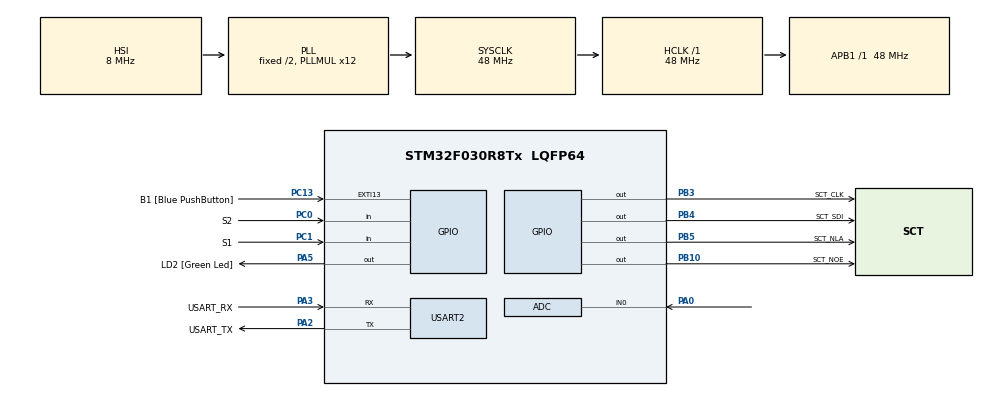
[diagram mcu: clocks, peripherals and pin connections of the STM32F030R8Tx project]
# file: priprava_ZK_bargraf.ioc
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ADC.ContinuousConvMode=ENABLE
ADC.Overrun=ADC_OVR_DATA_OVERWRITTEN
ADC.SamplingTime=ADC_SAMPLETIME_239CYCLES_5
Mcu.Family=STM32F0
Mcu.Name=STM32F030R8Tx
Mcu.Package=LQFP64
NVIC.ADC1_IRQn=true\:0\:0\:false\:false\:true\:true\:true
PA0.Mode=IN0
PA0.Signal=ADC_IN0
PA13.GPIO_Label=TMS
PA13.Mode=Serial_Wire
PA13.Signal=SYS_SWDIO
PA14.GPIO_Label=TCK
PA14.Mode=Serial_Wire
PA14.Signal=SYS_SWCLK
PA2.GPIO_Label=USART_TX
PA2.GPIO_Mode=GPIO_MODE_AF_PP
PA2.GPIO_PuPd=GPIO_NOPULL
PA2.GPIO_Speed=GPIO_SPEED_FREQ_LOW
PA2.Mode=Asynchronous
PA2.Signal=USART2_TX
PA3.GPIO_Label=USART_RX
PA3.GPIO_Mode=GPIO_MODE_AF_PP
PA3.GPIO_PuPd=GPIO_NOPULL
PA3.GPIO_Speed=GPIO_SPEED_FREQ_LOW
PA3.Mode=Asynchronous
PA3.Signal=USART2_RX
PA5.GPIO_Label=LD2 [Green Led]
PA5.GPIO_Mode=GPIO_MODE_OUTPUT_PP
PA5.GPIO_PuPd=GPIO_NOPULL
PA5.GPIO_Speed=GPIO_SPEED_FREQ_LOW
PA5.Signal=GPIO_Output
PB10.GPIO_Label=SCT_NOE
PB10.Signal=GPIO_Output
PB3.GPIO_Label=SCT_CLK
PB3.Signal=GPIO_Output
PB4.GPIO_Label=SCT_SDI
PB4.Signal=GPIO_Output
PB5.GPIO_Label=SCT_NLA
PB5.Signal=GPIO_Output
PC0.GPIO_Label=S2
PC0.Signal=GPIO_Input
PC1.GPIO_Label=S1
PC1.Signal=GPIO_Input
PC13.GPIO_Label=B1 [Blue PushButton]
PC13.GPIO_ModeDefaultEXTI=GPIO_MODE_IT_FALLING
PC13.Signal=GPXTI13
PC14-OSC32_IN.Mode=LSE-External-Oscillator
PC14-OSC32_IN.Signal=RCC_OSC32_IN
PC15-OSC32_OUT.Mode=LSE-External-Oscillator
PC15-OSC32_OUT.Signal=RCC_OSC32_OUT
PF0-OSC_IN.Mode=HSE-External-Clock-Source
PF0-OSC_IN.Signal=RCC_OSC_IN
PF1-OSC_OUT.Signal=RCC_OSC_OUT
ProjectManager.HeapSize=0x200
ProjectManager.StackSize=0x400
ProjectManager.TargetToolchain=STM32CubeIDE
RCC.AHBFreq_Value=48000000
RCC.APB1Freq_Value=48000000
RCC.APB1TimFreq_Value=48000000
RCC.HCLKFreq_Value=48000000
RCC.PLLMUL=RCC_PLL_MUL12
RCC.SYSCLKFreq_VALUE=48000000
RCC.SYSCLKSource=RCC_SYSCLKSOURCE_PLLCLK
USART2.VirtualMode-Asynchronous=VM_ASYNC
VP_ADC_TempSens_Input.Mode=IN-TempSens
VP_ADC_Vref_Input.Mode=IN-Vrefint
board=NUCLEO-F030R8

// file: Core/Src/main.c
/* USER CODE BEGIN Header */
/**
  ******************************************************************************
  * @file           : main.c
  * @brief          : Main program body
  ******************************************************************************
  * @attention
  *
  * <h2><center>&copy; Copyright (c) 2021 STMicroelectronics.
  * All rights reserved.</center></h2>
  *
  * This software component is licensed by ST under BSD 3-Clause license,
  * the "License"; You may not use this file except in compliance with the
  * License. You may obtain a copy of the License at:
  *                        opensource.org/licenses/BSD-3-Clause
  *
  ******************************************************************************
  */
/* USER CODE END Header */
#include "main.h"

/* USER CODE BEGIN Includes */
#include "sct.h"

/* USER CODE END Includes */

/* USER CODE BEGIN PD */
#define ADC_Q 14  //vyraznejsi je 14ctka
/* Temperature sensor calibration value address */
#define TEMP110_CAL_ADDR ((uint16_t*) ((uint32_t) 0x1FFFF7C2))  ///precteni hodnoty v pametove bunce
#define TEMP30_CAL_ADDR ((uint16_t*) ((uint32_t) 0x1FFFF7B8))
/* Internal voltage reference calibration value address */
#define VREFINT_CAL_ADDR ((uint16_t*) ((uint32_t) 0x1FFFF7BA))
/* USER CODE END PD */

ADC_HandleTypeDef hadc;

UART_HandleTypeDef huart2;

/* USER CODE BEGIN PV */
static volatile uint32_t raw_pot;
static volatile uint32_t raw_temp;
static volatile uint32_t raw_volt;
/* USER CODE END PV */

void SystemClock_Config(void);
static void MX_GPIO_Init(void);
static void MX_USART2_UART_Init(void);
static void MX_ADC_Init(void);

/* USER CODE BEGIN 0 */
// funkce pro ADC prepinani kanalu
void HAL_ADC_ConvCpltCallback(ADC_HandleTypeDef* hadc)  //rozlisovat, ktery kanal bude na co
{
	static uint8_t channel = 0;  // pokud se jedna o kanal nula tak se provede ten puvodni kod
	if(channel == 0){
		static uint32_t avg_pot;  //beru hodnotu z trimru
		raw_pot = avg_pot >> ADC_Q;  //rawpot dispaly old value  posunes to o 14 bitu na ostraneni sumu
		avg_pot -= raw_pot;  // raw pot staticka volatilni promenna
		avg_pot += HAL_ADC_GetValue(hadc); //add actual new value
		//raw_pot = HAL_ADC_GetValue(hadc);  // radek se surovyma hodnotama bez prepocitani
	}
	else if (channel == 1){  //kanal je roven 1, tak se bude ukladat teplota
			raw_temp = HAL_ADC_GetValue(hadc);
		}

		else if (channel == 2){  //je roven kanal 2, tak uloz napeti
			raw_volt = HAL_ADC_GetValue(hadc);
			}

		if (__HAL_ADC_GET_FLAG(hadc, ADC_FLAG_EOS)) channel = 0;		//nastaveni dobehu kanalu, ADC_FLAG_EOS- end of sequence konec cyklu tzn. prepinani mezi kanaly
		else channel++;
}

/* USER CODE END 0 */

int main(void)
{

  /* MCU Configuration--------------------------------------------------------*/

  /* Reset of all peripherals, Initializes the Flash interface and the Systick. */
  HAL_Init();

  /* Configure the system clock */
  SystemClock_Config();

  /* Initialize all configured peripherals */
  MX_GPIO_Init();
  MX_USART2_UART_Init();
  MX_ADC_Init();
  /* USER CODE BEGIN 2 */
sct_init();

HAL_ADCEx_Calibration_Start(&hadc);
HAL_ADC_Start_IT(&hadc);

  /* USER CODE END 2 */

  /* Infinite loop */
  while (1)
  {

    /* USER CODE BEGIN 3 */
	  static enum { SHOW_POT, SHOW_VOLT, SHOW_TEMP } state = SHOW_POT;  //stavovy automat, stara se reakce na tlacitka s1 as2 nabyva hodnot pot volt a temp
	  	 	  static uint32_t delay;
	  	 	 if(state == SHOW_POT) {  //zobrazuje trimr
	  	 	  sct_value(raw_pot * 500/4096, raw_pot * 9 / 4096); //hodnota je 12bit coz 4096= takze 4096/4096*500 je max hodnota
	  	 	 }

	  	 	 	 else if(state == SHOW_TEMP) {  //zobrazuje teplotu
	  				 int32_t temperature = (raw_temp - (int32_t)(*TEMP30_CAL_ADDR));  // *TEMP30_CAL_ADDR ukazatel na kalibracni hodnotu je zadana vyrobcem
	  				 temperature = temperature * (int32_t)(110 - 30);  //kalibrace
	  				 temperature = temperature / (int32_t)(*TEMP110_CAL_ADDR - *TEMP30_CAL_ADDR);  //definice pametovych mist, (int32_t) timhle pretypuji hodnotu
	  				 temperature = temperature + 30;

	  				 sct_value(temperature, raw_pot * 9 / 4096);  //zobrazujeme teplotu a ta dtuha hodnota je pro ledky 9 moznosti pro led
	  	 			 }	// kdyz das na 8/4096 tak se na max sviti jich jen osm (jeden stav je 0 ledek)
	  	 	 	 	 // jedna se o teplotu uvnitr procesoru

	  	 	 	 else if (state == SHOW_VOLT){  //zobrazeni hodnoty napeti
	  	 			 uint32_t voltage = 330 * (*VREFINT_CAL_ADDR) / raw_volt; //
	  	 			 sct_value(voltage, raw_pot * 9 / 4096);  //zobrazeni na displeji napeti
	  	 		 	 }

	  	 		  if(HAL_GPIO_ReadPin(S1_GPIO_Port, S1_Pin) == 0){
	  	 			  state = SHOW_VOLT;
	  	 			  delay = HAL_GetTick();
	  	 		  }

	  	 		  if(HAL_GPIO_ReadPin(S2_GPIO_Port, S2_Pin) == 0){
	  	 			  state = SHOW_TEMP;
	  	 			  delay = HAL_GetTick();
	  	 		  }

	  	 		 if(HAL_GetTick() > delay + 1000){  //vraceni SA do puvodniho stavu
	  	 			 state = SHOW_POT;
	  	 		 }
	    }
  /* USER CODE END 3 */
}

void SystemClock_Config(void)
{
  RCC_OscInitTypeDef RCC_OscInitStruct = {0};
  RCC_ClkInitTypeDef RCC_ClkInitStruct = {0};

  /** Initializes the RCC Oscillators according to the specified parameters
  * in the RCC_OscInitTypeDef structure.
  */
  RCC_OscInitStruct.OscillatorType = RCC_OSCILLATORTYPE_HSI|RCC_OSCILLATORTYPE_HSI14;
  RCC_OscInitStruct.HSIState = RCC_HSI_ON;
  RCC_OscInitStruct.HSI14State = RCC_HSI14_ON;
  RCC_OscInitStruct.HSICalibrationValue = RCC_HSICALIBRATION_DEFAULT;
  RCC_OscInitStruct.HSI14CalibrationValue = 16;
  RCC_OscInitStruct.PLL.PLLState = RCC_PLL_ON;
  RCC_OscInitStruct.PLL.PLLSource = RCC_PLLSOURCE_HSI;
  RCC_OscInitStruct.PLL.PLLMUL = RCC_PLL_MUL12;
  RCC_OscInitStruct.PLL.PREDIV = RCC_PREDIV_DIV1;
  if (HAL_RCC_OscConfig(&RCC_OscInitStruct) != HAL_OK)
  {
    Error_Handler();
  }
  /** Initializes the CPU, AHB and APB buses clocks
  */
  RCC_ClkInitStruct.ClockType = RCC_CLOCKTYPE_HCLK|RCC_CLOCKTYPE_SYSCLK
                              |RCC_CLOCKTYPE_PCLK1;
  RCC_ClkInitStruct.SYSCLKSource = RCC_SYSCLKSOURCE_PLLCLK;
  RCC_ClkInitStruct.AHBCLKDivider = RCC_SYSCLK_DIV1;
  RCC_ClkInitStruct.APB1CLKDivider = RCC_HCLK_DIV1;

  if (HAL_RCC_ClockConfig(&RCC_ClkInitStruct, FLASH_LATENCY_1) != HAL_OK)
  {
    Error_Handler();
  }
}

static void MX_ADC_Init(void)
{

  ADC_ChannelConfTypeDef sConfig = {0};

  /** Configure the global features of the ADC (Clock, Resolution, Data Alignment and number of conversion)
  */
  hadc.Instance = ADC1;
  hadc.Init.ClockPrescaler = ADC_CLOCK_ASYNC_DIV1;
  hadc.Init.Resolution = ADC_RESOLUTION_12B;
  hadc.Init.DataAlign = ADC_DATAALIGN_RIGHT;
  hadc.Init.ScanConvMode = ADC_SCAN_DIRECTION_FORWARD;
  hadc.Init.EOCSelection = ADC_EOC_SINGLE_CONV;
  hadc.Init.LowPowerAutoWait = DISABLE;
  hadc.Init.LowPowerAutoPowerOff = DISABLE;
  hadc.Init.ContinuousConvMode = ENABLE;
  hadc.Init.DiscontinuousConvMode = DISABLE;
  hadc.Init.ExternalTrigConv = ADC_SOFTWARE_START;
  hadc.Init.ExternalTrigConvEdge = ADC_EXTERNALTRIGCONVEDGE_NONE;
  hadc.Init.DMAContinuousRequests = DISABLE;
  hadc.Init.Overrun = ADC_OVR_DATA_OVERWRITTEN;
  if (HAL_ADC_Init(&hadc) != HAL_OK)
  {
    Error_Handler();
  }
  /** Configure for the selected ADC regular channel to be converted.
  */
  sConfig.Channel = ADC_CHANNEL_0;
  sConfig.Rank = ADC_RANK_CHANNEL_NUMBER;
  sConfig.SamplingTime = ADC_SAMPLETIME_239CYCLES_5;
  if (HAL_ADC_ConfigChannel(&hadc, &sConfig) != HAL_OK)
  {
    Error_Handler();
  }
  /** Configure for the selected ADC regular channel to be converted.
  */
  sConfig.Channel = ADC_CHANNEL_TEMPSENSOR;
  if (HAL_ADC_ConfigChannel(&hadc, &sConfig) != HAL_OK)
  {
    Error_Handler();
  }
  /** Configure for the selected ADC regular channel to be converted.
  */
  sConfig.Channel = ADC_CHANNEL_VREFINT;
  if (HAL_ADC_ConfigChannel(&hadc, &sConfig) != HAL_OK)
  {
    Error_Handler();
  }

}

static void MX_USART2_UART_Init(void)
{

  huart2.Instance = USART2;
  huart2.Init.BaudRate = 38400;
  huart2.Init.WordLength = UART_WORDLENGTH_8B;
  huart2.Init.StopBits = UART_STOPBITS_1;
  huart2.Init.Parity = UART_PARITY_NONE;
  huart2.Init.Mode = UART_MODE_TX_RX;
  huart2.Init.HwFlowCtl = UART_HWCONTROL_NONE;
  huart2.Init.OverSampling = UART_OVERSAMPLING_16;
  huart2.Init.OneBitSampling = UART_ONE_BIT_SAMPLE_DISABLE;
  huart2.AdvancedInit.AdvFeatureInit = UART_ADVFEATURE_NO_INIT;
  if (HAL_UART_Init(&huart2) != HAL_OK)
  {
    Error_Handler();
  }

}

static void MX_GPIO_Init(void)
{
  GPIO_InitTypeDef GPIO_InitStruct = {0};

  /* GPIO Ports Clock Enable */
  __HAL_RCC_GPIOC_CLK_ENABLE();
  __HAL_RCC_GPIOF_CLK_ENABLE();
  __HAL_RCC_GPIOA_CLK_ENABLE();
  __HAL_RCC_GPIOB_CLK_ENABLE();

  /*Configure GPIO pin Output Level */
  HAL_GPIO_WritePin(LD2_GPIO_Port, LD2_Pin, GPIO_PIN_RESET);

  /*Configure GPIO pin Output Level */
  HAL_GPIO_WritePin(GPIOB, SCT_NOE_Pin|SCT_CLK_Pin|SCT_SDI_Pin|SCT_NLA_Pin, GPIO_PIN_RESET);

  /*Configure GPIO pin : B1_Pin */
  GPIO_InitStruct.Pin = B1_Pin;
  GPIO_InitStruct.Mode = GPIO_MODE_IT_FALLING;
  GPIO_InitStruct.Pull = GPIO_NOPULL;
  HAL_GPIO_Init(B1_GPIO_Port, &GPIO_InitStruct);

  /*Configure GPIO pins : S2_Pin S1_Pin */
  GPIO_InitStruct.Pin = S2_Pin|S1_Pin;
  GPIO_InitStruct.Mode = GPIO_MODE_INPUT;
  GPIO_InitStruct.Pull = GPIO_NOPULL;
  HAL_GPIO_Init(GPIOC, &GPIO_InitStruct);

  /*Configure GPIO pin : LD2_Pin */
  GPIO_InitStruct.Pin = LD2_Pin;
  GPIO_InitStruct.Mode = GPIO_MODE_OUTPUT_PP;
  GPIO_InitStruct.Pull = GPIO_NOPULL;
  GPIO_InitStruct.Speed = GPIO_SPEED_FREQ_LOW;
  HAL_GPIO_Init(LD2_GPIO_Port, &GPIO_InitStruct);

  /*Configure GPIO pins : SCT_NOE_Pin SCT_CLK_Pin SCT_SDI_Pin SCT_NLA_Pin */
  GPIO_InitStruct.Pin = SCT_NOE_Pin|SCT_CLK_Pin|SCT_SDI_Pin|SCT_NLA_Pin;
  GPIO_InitStruct.Mode = GPIO_MODE_OUTPUT_PP;
  GPIO_InitStruct.Pull = GPIO_NOPULL;
  GPIO_InitStruct.Speed = GPIO_SPEED_FREQ_LOW;
  HAL_GPIO_Init(GPIOB, &GPIO_InitStruct);

}

void Error_Handler(void)
{
}

/************************ (C) COPYRIGHT STMicroelectronics *****END OF FILE****/
